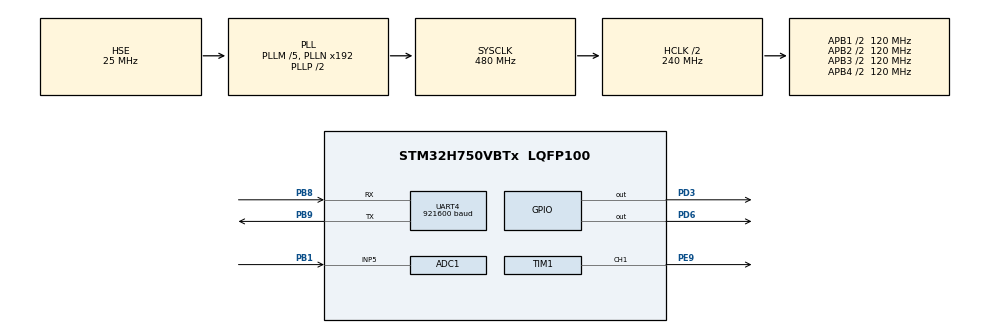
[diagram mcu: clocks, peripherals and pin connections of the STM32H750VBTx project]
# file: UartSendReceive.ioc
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ADC1.Channel-1\#ChannelRegularConversion=ADC_CHANNEL_5
ADC1.ConversionDataManagement=ADC_CONVERSIONDATA_DMA_ONESHOT
ADC1.ExternalTrigConv=ADC_EXTERNALTRIG_T1_TRGO
ADC1.NbrOfConversionFlag=1
ADC1.OffsetNumber-1\#ChannelRegularConversion=ADC_OFFSET_NONE
ADC1.OffsetSignedSaturation-1\#ChannelRegularConversion=DISABLE
ADC1.Rank-1\#ChannelRegularConversion=1
ADC1.SamplingTime-1\#ChannelRegularConversion=ADC_SAMPLETIME_1CYCLE_5
ADC1.master=1
Dma.ADC1.0.Direction=DMA_PERIPH_TO_MEMORY
Dma.ADC1.0.EventEnable=DISABLE
Dma.ADC1.0.FIFOMode=DMA_FIFOMODE_DISABLE
Dma.ADC1.0.Instance=DMA1_Stream0
Dma.ADC1.0.MemDataAlignment=DMA_MDATAALIGN_HALFWORD
Dma.ADC1.0.MemInc=DMA_MINC_ENABLE
Dma.ADC1.0.Mode=DMA_NORMAL
Dma.ADC1.0.PeriphDataAlignment=DMA_PDATAALIGN_HALFWORD
Dma.ADC1.0.PeriphInc=DMA_PINC_DISABLE
Dma.ADC1.0.Polarity=HAL_DMAMUX_REQ_GEN_RISING
Dma.ADC1.0.Priority=DMA_PRIORITY_HIGH
Dma.ADC1.0.RequestNumber=1
Dma.ADC1.0.SignalID=NONE
Dma.ADC1.0.SyncEnable=DISABLE
Dma.ADC1.0.SyncPolarity=HAL_DMAMUX_SYNC_NO_EVENT
Dma.ADC1.0.SyncRequestNumber=1
Dma.ADC1.0.SyncSignalID=NONE
Dma.Request0=ADC1
Mcu.Family=STM32H7
Mcu.Name=STM32H750VBTx
Mcu.Package=LQFP100
NVIC.ADC_IRQn=true\:0\:0\:false\:false\:true\:true\:true\:true
NVIC.DMA1_Stream0_IRQn=true\:0\:0\:false\:false\:true\:false\:true\:true
NVIC.PriorityGroup=NVIC_PRIORITYGROUP_4
NVIC.TIM1_UP_IRQn=true\:0\:0\:false\:false\:true\:true\:true\:true
NVIC.UART4_IRQn=true\:4\:0\:true\:false\:true\:true\:true\:true
PB1.Signal=ADCx_INP5
PB14.Signal=S_TIM12_CH1
PB15.Signal=S_TIM12_CH2
PB8.Mode=Asynchronous
PB8.Signal=UART4_RX
PB9.Mode=Asynchronous
PB9.Signal=UART4_TX
PD3.Signal=GPIO_Output
PD6.Signal=GPIO_Output
PE9.Signal=S_TIM1_CH1
PH0-OSC_IN\ (PH0).Mode=HSE-External-Oscillator
PH0-OSC_IN\ (PH0).Signal=RCC_OSC_IN
PH1-OSC_OUT\ (PH1).Mode=HSE-External-Oscillator
PH1-OSC_OUT\ (PH1).Signal=RCC_OSC_OUT
ProjectManager.HeapSize=0x1000
ProjectManager.StackSize=0x1000
ProjectManager.TargetToolchain=MDK-ARM V5
RCC.ADCFreq_Value=150000000
RCC.APB1Freq_Value=120000000
RCC.APB2Freq_Value=120000000
RCC.APB3Freq_Value=120000000
RCC.APB4Freq_Value=120000000
RCC.CortexFreq_Value=480000000
RCC.D1PPRE=RCC_APB3_DIV2
RCC.D2PPRE1=RCC_APB1_DIV2
RCC.D2PPRE2=RCC_APB2_DIV2
RCC.D3PPRE=RCC_APB4_DIV2
RCC.DIVM1=5
RCC.DIVM2=2
RCC.DIVN1=192
RCC.DIVN2=12
RCC.DIVP2=1
RCC.HCLKFreq_Value=240000000
RCC.HPRE=RCC_HCLK_DIV2
RCC.PLL2FRACN=0
RCC.PLL3FRACN=0
RCC.PLLFRACN=0
RCC.PLLSourceVirtual=RCC_PLLSOURCE_HSE
RCC.SYSCLKFreq_VALUE=480000000
RCC.SYSCLKSource=RCC_SYSCLKSOURCE_PLLCLK
RCC.USBFreq_Value=480000000
SH.ADCx_INP5.0=ADC1_INP5,IN5-Single-Ended
SH.S_TIM12_CH1.0=TIM12_CH1
SH.S_TIM12_CH2.0=TIM12_CH2
SH.S_TIM1_CH1.0=TIM1_CH1,PWM Generation1 CH1
TIM1.Channel-PWM\ Generation1\ CH1=TIM_CHANNEL_1
TIM1.OCPolarity_1=TIM_OCPOLARITY_LOW
TIM1.Period=799
TIM1.Pulse-PWM\ Generation1\ CH1=399
TIM1.TIM_MasterOutputTrigger=TIM_TRGO_OC1REF
UART4.BaudRate=921600
VP_VREFBUF_V_VREFBUF.Mode=ExternalMode
board=custom

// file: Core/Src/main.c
/* USER CODE BEGIN Header */
/**
  ******************************************************************************
  * @file           : main.c
  * @brief          : Main program body
  ******************************************************************************
  * @attention
  *
  * <h2><center>&copy; Copyright (c) 2021 STMicroelectronics.
  * All rights reserved.</center></h2>
  *
  * This software component is licensed by ST under BSD 3-Clause license,
  * the "License"; You may not use this file except in compliance with the
  * License. You may obtain a copy of the License at:
  *                        opensource.org/licenses/BSD-3-Clause
  *
  ******************************************************************************
  */
/* USER CODE END Header */
#include "main.h"
#include "adc.h"
#include "dma.h"
#include "tim.h"
#include "usart.h"
#include "gpio.h"

/* USER CODE BEGIN Includes */
#include "string.h"
#include "DELAY/delay.h"
#include "debug/debug.h"

//uint8_t uartSendTitle[] = "\r\n======UART Send Receive Test=====\r\n";
/* USER CODE END Includes */

/* USER CODE BEGIN PD */

#define ADC_DATA_LENGTH  4096   //定义采集数据长度为1000
uint32_t g_adc1_dma_data1[ADC_DATA_LENGTH];//定义adc1采集数据存放数组
uint8_t g_adc1_dma_complete_flag = 0;	//adc1数据dma采集完成标志，在dma采集完成回调函数设置
uint8_t receive_flag = 0;

/* USER CODE END PD */

void SystemClock_Config(void);

/* USER CODE BEGIN 0 */

void HMISends(void)
{
	uint8_t sflag[]={0xFF,0xFF,0xFF};
			HAL_UART_Transmit(&huart4,sflag,sizeof(sflag),100);
			while(__HAL_UART_GET_FLAG(&huart4,UART_FLAG_TC)==RESET){};
}

void HMISendStr(uint32_t * buf)
{
  uint8_t i =0;
  while(1){
  if(buf[i]!=0){
    HAL_UART_Transmit(&huart4,(uint8_t *)buf[i],sizeof(buf[i]),1000);
    while(__HAL_UART_GET_FLAG(&huart4,UART_FLAG_TC)==RESET){};
    i++;
  }
  else
	 return ;
  }
}

void HAL_ADC_ConvCpltCallback(ADC_HandleTypeDef *hadc)
{
	if(hadc->Instance==ADC1)
	{
		g_adc1_dma_complete_flag = 1;//采集完成标志
		HAL_TIM_Base_Stop_IT(&htim1);//tim1关闭
	}
}

/* USER CODE END 0 */

int main(void)
{
  /* USER CODE BEGIN 1 */
	uint32_t i=0;
  /* USER CODE END 1 */

  /* MCU Configuration--------------------------------------------------------*/

  /* Reset of all peripherals, Initializes the Flash interface and the Systick. */
  HAL_Init();

  /* Configure the system clock */
  SystemClock_Config();

  /* Initialize all configured peripherals */
  MX_GPIO_Init();
  MX_UART4_Init();
  MX_DMA_Init();
  MX_ADC1_Init();
  MX_TIM1_Init();
  /* USER CODE BEGIN 2 */
	delay_init(480);

	HAL_TIM_Base_Start_IT(&htim1);//tim1开启
	HAL_ADC_Start_DMA(&hadc1,g_adc1_dma_data1,ADC_DATA_LENGTH);//ADC的dma开始采集

	float Freq = 10.0;
//	delay_ms(100);

//开起串口4接收中断
//	__HAL_UART_ENABLE_IT(&huart4, UART_IT_RXNE);
//
//	HAL_UART_Transmit(&huart4,uartSendTitle,sizeof(uartSendTitle),1000);	//发送抬头
//	while(__HAL_UART_GET_FLAG(&huart4,UART_FLAG_TC)!=SET);		//等待发送结束

  /* USER CODE END 2 */

  /* Infinite loop */
  /* USER CODE BEGIN WHILE */
  while (1)
  {
		if(g_adc1_dma_complete_flag == 1)
			{
				HAL_ADC_Stop_DMA(&hadc1);
		uint32_t sendbuf[100];
		int i=0;
			for(i=0;i<4096;i++)
				{
					sprintf((char*)sendbuf,"%d\r\n",g_adc1_dma_data1[i]&0x0000ffff);
					HMISendStr(sendbuf);
				}
			g_adc1_dma_complete_flag = 0;
			memset(g_adc1_dma_data1,0,ADC_DATA_LENGTH);//清除数据
			//HAL_TIM_Base_Start_IT(&htim1);//tim1开启
			//HAL_ADC_Start_DMA(&hadc1,g_adc1_dma_data1,ADC_DATA_LENGTH);
			}
		if(receive_flag == 1)
      {
		  	HMISends();
		  	uint32_t uartstr[100];
		  	sprintf((char*)uartstr,"main.t2.txt=\"%6.4f Hz\"",Freq);
		  	HMISendStr(uartstr);
		  	Freq+=10.3f;
		  	HMISends();
		  	delay_ms(1000);
		  }

//		if(USART_RX_STA&0x8000)
//		{
//			uart_rx_len=USART_RX_STA&0x3fff;//得到此次接收到的数据长度
//			printf("\r\nsend data:\r\n");
//			HAL_UART_Transmit_IT(&huart3,(uint8_t*)USART_RX_BUF,len);	//发送接收到的数据
//			HAL_UART_Transmit(&huart4,(uint8_t*)USART_RX_BUF,uart_rx_len,1000);	//发送接收到的数据
//			while(__HAL_UART_GET_FLAG(&huart4,UART_FLAG_TC)!=SET);		//等待发送结束
//			USART_RX_STA=0;
//		}
    /* USER CODE END WHILE */

  }
}

void SystemClock_Config(void)
{
  RCC_OscInitTypeDef RCC_OscInitStruct = {0};
  RCC_ClkInitTypeDef RCC_ClkInitStruct = {0};

  /** Supply configuration update enable
  */
  HAL_PWREx_ConfigSupply(PWR_LDO_SUPPLY);

  /** Configure the main internal regulator output voltage
  */
  __HAL_PWR_VOLTAGESCALING_CONFIG(PWR_REGULATOR_VOLTAGE_SCALE1);

  while(!__HAL_PWR_GET_FLAG(PWR_FLAG_VOSRDY)) {}

  __HAL_RCC_SYSCFG_CLK_ENABLE();
  __HAL_PWR_VOLTAGESCALING_CONFIG(PWR_REGULATOR_VOLTAGE_SCALE0);

  while(!__HAL_PWR_GET_FLAG(PWR_FLAG_VOSRDY)) {}

  /** Macro to configure the PLL clock source
  */
  __HAL_RCC_PLL_PLLSOURCE_CONFIG(RCC_PLLSOURCE_HSE);

  /** Initializes the RCC Oscillators according to the specified parameters
  * in the RCC_OscInitTypeDef structure.
  */
  RCC_OscInitStruct.OscillatorType = RCC_OSCILLATORTYPE_HSE;
  RCC_OscInitStruct.HSEState = RCC_HSE_ON;
  RCC_OscInitStruct.PLL.PLLState = RCC_PLL_ON;
  RCC_OscInitStruct.PLL.PLLSource = RCC_PLLSOURCE_HSE;
  RCC_OscInitStruct.PLL.PLLM = 5;
  RCC_OscInitStruct.PLL.PLLN = 192;
  RCC_OscInitStruct.PLL.PLLP = 2;
  RCC_OscInitStruct.PLL.PLLQ = 2;
  RCC_OscInitStruct.PLL.PLLR = 2;
  RCC_OscInitStruct.PLL.PLLRGE = RCC_PLL1VCIRANGE_2;
  RCC_OscInitStruct.PLL.PLLVCOSEL = RCC_PLL1VCOWIDE;
  RCC_OscInitStruct.PLL.PLLFRACN = 0;
  if (HAL_RCC_OscConfig(&RCC_OscInitStruct) != HAL_OK)
  {
    Error_Handler();
  }

  /** Initializes the CPU, AHB and APB buses clocks
  */
  RCC_ClkInitStruct.ClockType = RCC_CLOCKTYPE_HCLK|RCC_CLOCKTYPE_SYSCLK
                              |RCC_CLOCKTYPE_PCLK1|RCC_CLOCKTYPE_PCLK2
                              |RCC_CLOCKTYPE_D3PCLK1|RCC_CLOCKTYPE_D1PCLK1;
  RCC_ClkInitStruct.SYSCLKSource = RCC_SYSCLKSOURCE_PLLCLK;
  RCC_ClkInitStruct.SYSCLKDivider = RCC_SYSCLK_DIV1;
  RCC_ClkInitStruct.AHBCLKDivider = RCC_HCLK_DIV2;
  RCC_ClkInitStruct.APB3CLKDivider = RCC_APB3_DIV2;
  RCC_ClkInitStruct.APB1CLKDivider = RCC_APB1_DIV2;
  RCC_ClkInitStruct.APB2CLKDivider = RCC_APB2_DIV2;
  RCC_ClkInitStruct.APB4CLKDivider = RCC_APB4_DIV2;

  if (HAL_RCC_ClockConfig(&RCC_ClkInitStruct, FLASH_LATENCY_4) != HAL_OK)
  {
    Error_Handler();
  }
}

void Error_Handler(void)
{
  __disable_irq();
  while (1)
  {
  }
}
